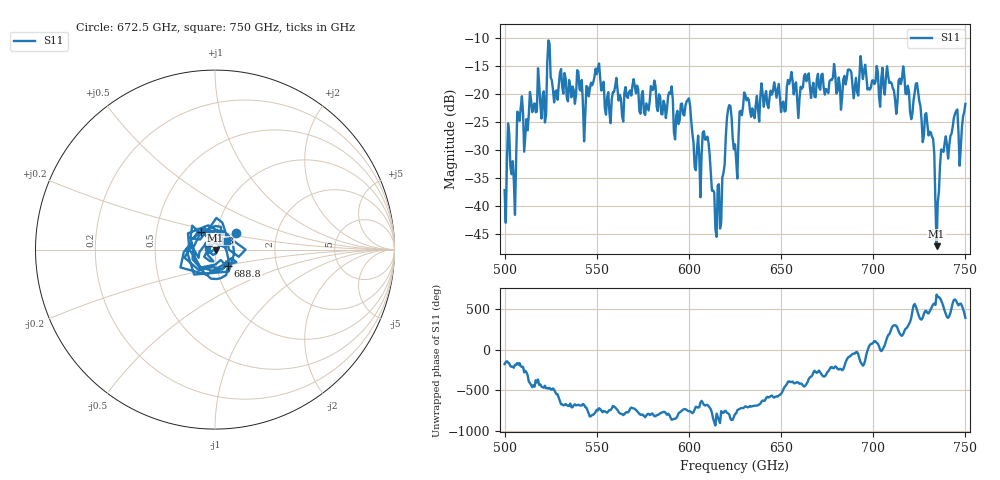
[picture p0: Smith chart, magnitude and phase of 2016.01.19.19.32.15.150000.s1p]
!Created with skrf (http://scikit-rf.org).
# GHz S RI R 50.0
!freq ReS11 ImS11
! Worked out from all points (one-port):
!   401 points, 500 GHz to 750 GHz, reference 50 ohm
!   lowest |S11| = -47.2 dB at 734.4 GHz (marker M1), VSWR 1.01, Z = 50.4 - j0.259 ohm
!   |S11| at or under -10 dB: start of sweep to end of sweep
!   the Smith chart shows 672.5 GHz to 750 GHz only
!   S11 on the Smith chart (normalised r, x): 672.5 GHz: 1.24, +0.24; 688.8 GHz: 1.13, -0.21; 723.8 GHz: 0.84, +0.16; 750 GHz: 1.14, +0.11
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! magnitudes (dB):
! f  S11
! 500 GHz  -37.2
! 502.5 GHz  -27.1
! 505 GHz  -35.4
! 508.1 GHz  -24.8
! 521.2 GHz  -19.6
! 524.4 GHz  -11.1
! 527.5 GHz  -19.6
! 531.2 GHz  -18.8
! 562.5 GHz  -20.2
! 580.6 GHz  -19.3
! 593.8 GHz  -23.1
! 599.4 GHz  -21.1
! 605 GHz  -27.5
! 609.4 GHz  -28.2
! 615.6 GHz  -36.3
! 621.9 GHz  -22.0
! 625 GHz  -29.1
! 630.6 GHz  -20.2
! 656.2 GHz  -17.7
! 672.5 GHz  -16.4
! 687.5 GHz  -15.8
! 688.8 GHz  -18.6
! 718.8 GHz  -18.6
! 723.8 GHz  -18.1
! 731.9 GHz  -27.7
! 734.4 GHz  -47.2
! 738.1 GHz  -30.4
! 750 GHz  -21.8
